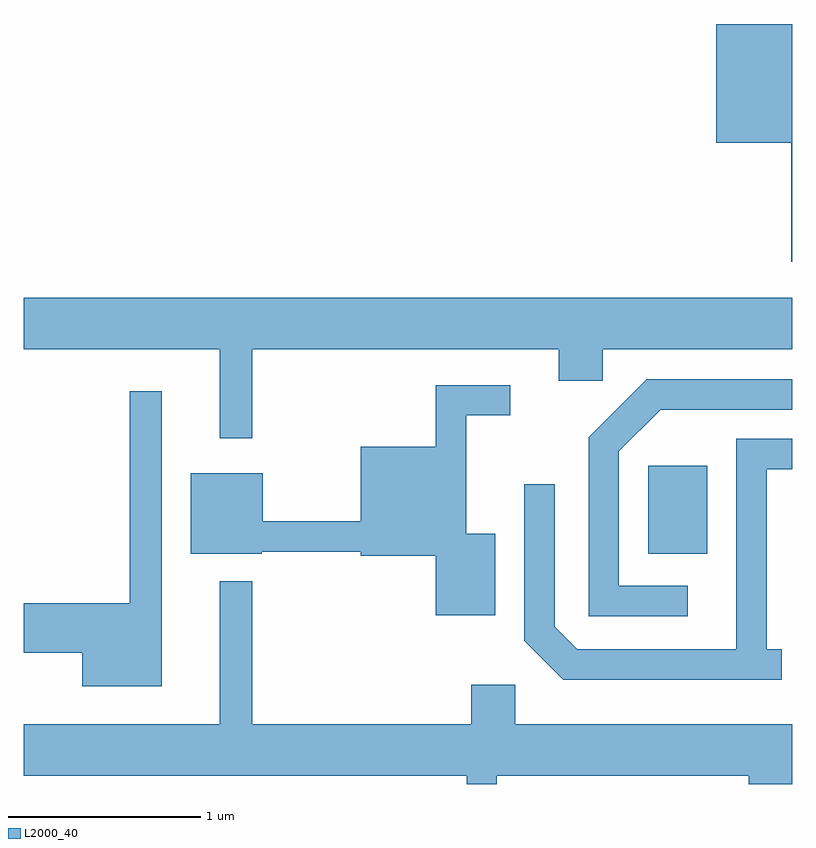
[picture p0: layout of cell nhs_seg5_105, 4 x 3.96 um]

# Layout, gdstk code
import gdstk
lib = gdstk.Library(unit=1e-6, precision=1e-09)
def R(c, l, rs):  # rectangles x0, y0, x1, y1
    for r in rs: c.add(gdstk.rectangle(r[:2], r[2:], *l))
def P(c, l, *ps):  # polygons
    for p in ps: c.add(gdstk.Polygon(p, *l))
L2000_40 = (2000, 40)

nhs_seg5_105 = lib.new_cell('nhs_seg5_105')
R(nhs_seg5_105, L2000_40, [(190.861,1471.271,191.169,1471.729)])
P(nhs_seg5_105, L2000_40, [(191.611,1474.029),(191.216,1474.029),(191.216,1473.411),(191.606,1473.411),(191.606,1472.791),(191.611,1472.791)],
  [(188.799,1472.336),(190.396,1472.336),(190.396,1472.171),(190.624,1472.171),(190.624,1472.336),(191.611,1472.336),(191.611,1472.604),(187.611,1472.604),(187.611,1472.336),(188.631,1472.336),(188.631,1471.873),(188.799,1471.873)],
  [(191.068,1471.104),(190.709,1471.104),(190.709,1471.804),(190.927,1472.021),(191.611,1472.021),(191.611,1472.179),(190.854,1472.179),(190.551,1471.877),(190.551,1470.946),(191.068,1470.946)],
  [(190.064,1471.374),(189.914,1471.374),(189.914,1471.991),(190.143,1471.991),(190.143,1472.149),(189.756,1472.149),(189.756,1471.829),(189.366,1471.829),(189.366,1471.439),(188.854,1471.439),(188.854,1471.689),(188.481,1471.689),(188.481,1471.271),(188.85,1471.271),(188.85,1471.281),(189.366,1471.281),(189.366,1471.261),(189.756,1471.261),(189.756,1470.951),(190.064,1470.951)],
  [(188.329,1472.118),(188.161,1472.118),(188.161,1471.014),(187.611,1471.014),(187.611,1470.756),(187.916,1470.756),(187.916,1470.581),(188.329,1470.581)],
  [(191.558,1470.774),(191.479,1470.774),(191.479,1471.711),(191.611,1471.711),(191.611,1471.869),(191.321,1471.869),(191.321,1470.774),(190.492,1470.774),(190.374,1470.892),(190.374,1471.633),(190.216,1471.633),(190.216,1470.819),(190.419,1470.616),(191.558,1470.616)],
  [(190.074,1470.116),(191.386,1470.116),(191.386,1470.072),(191.611,1470.072),(191.611,1470.384),(190.169,1470.384),(190.169,1470.589),(189.941,1470.589),(189.941,1470.384),(188.799,1470.384),(188.799,1471.128),(188.631,1471.128),(188.631,1470.384),(187.611,1470.384),(187.611,1470.116),(189.916,1470.116),(189.916,1470.072),(190.074,1470.072)])

lib.write_gds('nhs_seg5_105.gds')
